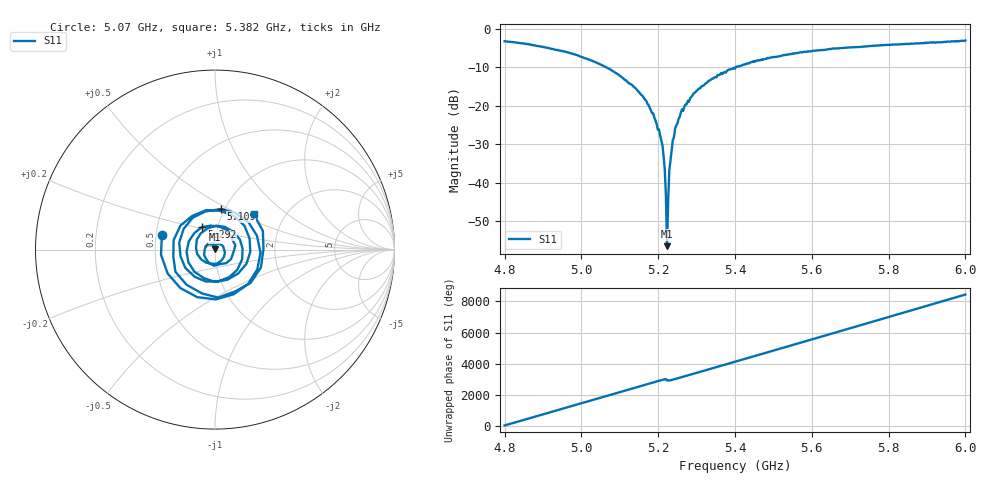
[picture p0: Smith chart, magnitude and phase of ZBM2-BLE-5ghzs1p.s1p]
! NanoVNA-App
! Date: 2026-05-22 19:34:41
! Start: 4.8GHz Stop: 6GHz Points: 401
! S-Parameter data: F S11
# Hz S RI R 50
!  Frequency  S11_Real  S11_Imag
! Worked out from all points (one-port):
!   401 points, 4.8 GHz to 6 GHz, reference 50 ohm
!   lowest |S11| = -56.5 dB at 5.223 GHz (marker M1), VSWR 1.00, Z = 50.1 + j0.108 ohm
!   |S11| at or under -10 dB: 5.065 GHz to 5.402 GHz (336.7 MHz wide, 6.43 % of centre)
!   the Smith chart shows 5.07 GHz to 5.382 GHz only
!   S11 on the Smith chart (normalised r, x): 5.07 GHz: 0.54, +0.10; 5.109 GHz: 0.96, +0.46; 5.292 GHz: 0.84, +0.21; 5.382 GHz: 1.40, +0.60
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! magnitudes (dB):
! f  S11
! 4.8 GHz  -3.2
! 4.95 GHz  -5.7
! 5.07 GHz  -10.2
! 5.1 GHz  -12.2
! 5.109 GHz  -12.8
! 5.163 GHz  -18.0
! 5.19 GHz  -23.1
! 5.208 GHz  -28.9
! 5.214 GHz  -33.0
! 5.217 GHz  -36.5
! 5.22 GHz  -43.2
! 5.223 GHz  -56.5
! 5.226 GHz  -44.5
! 5.229 GHz  -36.7
! 5.232 GHz  -34.3
! 5.235 GHz  -31.6
! 5.238 GHz  -28.9
! 5.244 GHz  -25.9
! 5.25 GHz  -24.6
! 5.265 GHz  -21.3
! 5.292 GHz  -16.8
! 5.334 GHz  -13.4
! 5.382 GHz  -10.7
! 5.4 GHz  -10.3
! 5.55 GHz  -6.4
! 5.7 GHz  -4.8
! 5.85 GHz  -3.9
! 6 GHz  -3.0
